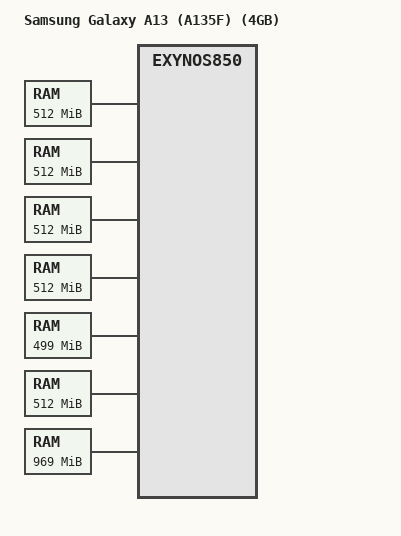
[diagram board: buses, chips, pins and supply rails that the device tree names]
// SPDX-License-Identifier: GPL-2.0
/*
 * Samsung Galaxy A13 (A135F) 4GB RAM variant board device tree source
 * This just configures the memory, and includes the common device source for everything else.
 * Copyright (c), 2026, schoosh212 <superaviation001@gmail.com>
 */

/dts-v1/;

#include "exynos850-a135f-common.dtsi"
#include <dt-bindings/gpio/gpio.h>
#include <dt-bindings/input/input.h>
#include <dt-bindings/leds/common.h>

/ {
        model = "Samsung Galaxy A13 (A135F) (4GB)";
        compatible = "samsung,a135f", "samsung,a135f-4gb", "samsung,exynos850";
        #address-cells = <2>;
        #size-cells = <1>;

        memory@8e0000000 {
                device_type = "memory";
                reg = <0x08 0xe0000000 0x20000000>;
        };

        memory@8c0000000 {
                device_type = "memory";
                reg = <0x08 0xc0000000 0x20000000>;
        };

        memory@8a0000000 {
                device_type = "memory";
                reg = <0x08 0xa0000000 0x20000000>;
        };

        memory@880000000 {
                device_type = "memory";
                reg = <0x08 0x80000000 0x20000000>;
        };

        memory@e0d00000 {
                device_type = "memory";
                reg = <0x00 0xe0d00000 0x1f300000>;
        };

        memory@c0000000 {
                device_type = "memory";
                reg = <0x00 0xc0000000 0x20000000>;
        };

        memory@80000000 {
                device_type = "memory";
                reg = <0x00 0x80000000 0x3c900000>;
        };
};
